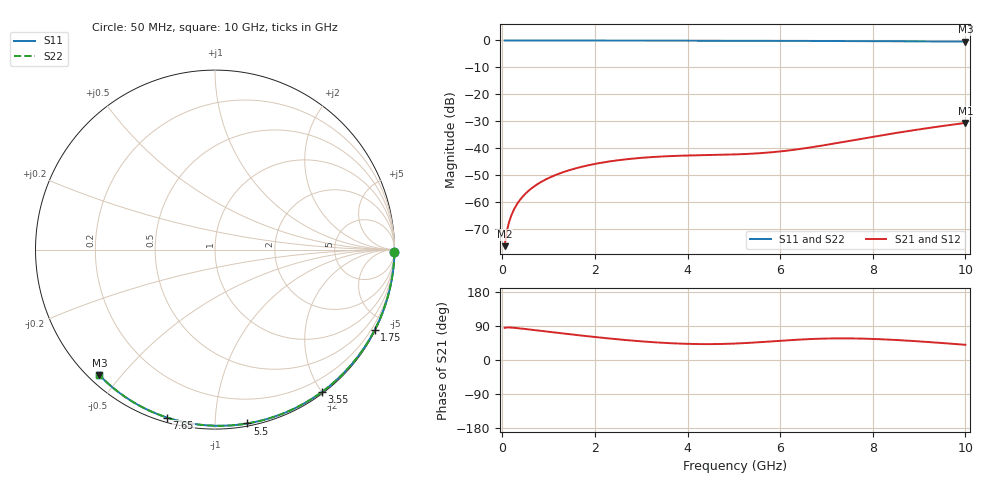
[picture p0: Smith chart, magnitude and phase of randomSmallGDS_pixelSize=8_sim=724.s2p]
! freq	dB(S11)	phase(S11)	dB(S12)	phase(S12)
!  dB(S21)	phase(S21)	dB(S22)	phase(S22)
!S-par simulation data
#  GHz  S  DB  R 50
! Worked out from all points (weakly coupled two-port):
!   200 points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, 50 MHz to 10 GHz, reference 50 ohm
!   highest |S21| = -30.69 dB at 10 GHz (marker M1); lowest = -76.6 dB at 50 MHz (marker M2)
!   lowest |S11| = -0.4 dB at 10 GHz (marker M3), VSWR 39.45, Z = 1.51 - j21.9 ohm
!   |S11| at or under -10 dB: nowhere
!   |S22| runs from -0.4 to 0.0 dB; largest |S21 - S12| = 0
!   S11 on the Smith chart (normalised r, x): 50 MHz: open; 1.75 GHz: 0.04, -4.19; 3.55 GHz: 0.02, -2.00; 5.5 GHz: 0.02, -1.20; 7.65 GHz: 0.02, -0.75; 10 GHz: 0.03, -0.44
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0.05  -0.00 -0.8  -76.58 84.8  -76.58 84.8  -0.00 -0.8
0.1  -0.00 -1.6  -70.84 85.7  -70.84 85.7  -0.00 -1.6
0.15  -0.00 -2.3  -67.39 85.7  -67.39 85.7  -0.00 -2.3
0.2  -0.00 -3.1  -64.92 85.4  -64.92 85.4  -0.00 -3.1
0.25  -0.00 -3.9  -63.00 85.0  -63.00 85.0  -0.00 -3.9
0.35  -0.00 -5.5  -60.10 83.8  -60.10 83.8  -0.00 -5.5
0.5  -0.01 -7.8  -57.04 81.8  -57.04 81.8  -0.01 -7.8
0.7  -0.01 -10.9  -54.18 78.9  -54.18 78.9  -0.01 -10.9
1  -0.02 -15.5  -51.22 74.5  -51.22 74.5  -0.02 -15.5
1.35  -0.03 -20.8  -48.82 69.5  -48.82 69.5  -0.03 -20.8
1.75  -0.03 -26.8  -46.88 64.0  -46.88 64.0  -0.03 -26.8
2.5  -0.05 -38.0  -44.59 54.5  -44.59 54.5  -0.05 -38.0
3.4  -0.07 -51.0  -43.23 45.9  -43.23 45.9  -0.07 -51.0
3.55  -0.07 -53.1  -43.10 44.8  -43.10 44.8  -0.07 -53.1
4.3  -0.09 -63.5  -42.71 42.0  -42.71 42.0  -0.09 -63.5
5.05  -0.11 -73.6  -42.40 43.6  -42.40 43.6  -0.11 -73.6
5.5  -0.13 -79.4  -42.04 46.5  -42.04 46.5  -0.13 -79.5
6.05  -0.15 -86.5  -41.22 51.1  -41.22 51.1  -0.15 -86.5
6.7  -0.18 -94.5  -39.70 55.5  -39.70 55.5  -0.18 -94.6
7.65  -0.24 -105.9  -36.92 56.8  -36.92 56.8  -0.24 -106.0
8.35  -0.29 -114.1  -34.87 53.8  -34.87 53.8  -0.29 -114.1
10  -0.44 -132.7  -30.69 40.1  -30.69 40.1  -0.44 -132.7
